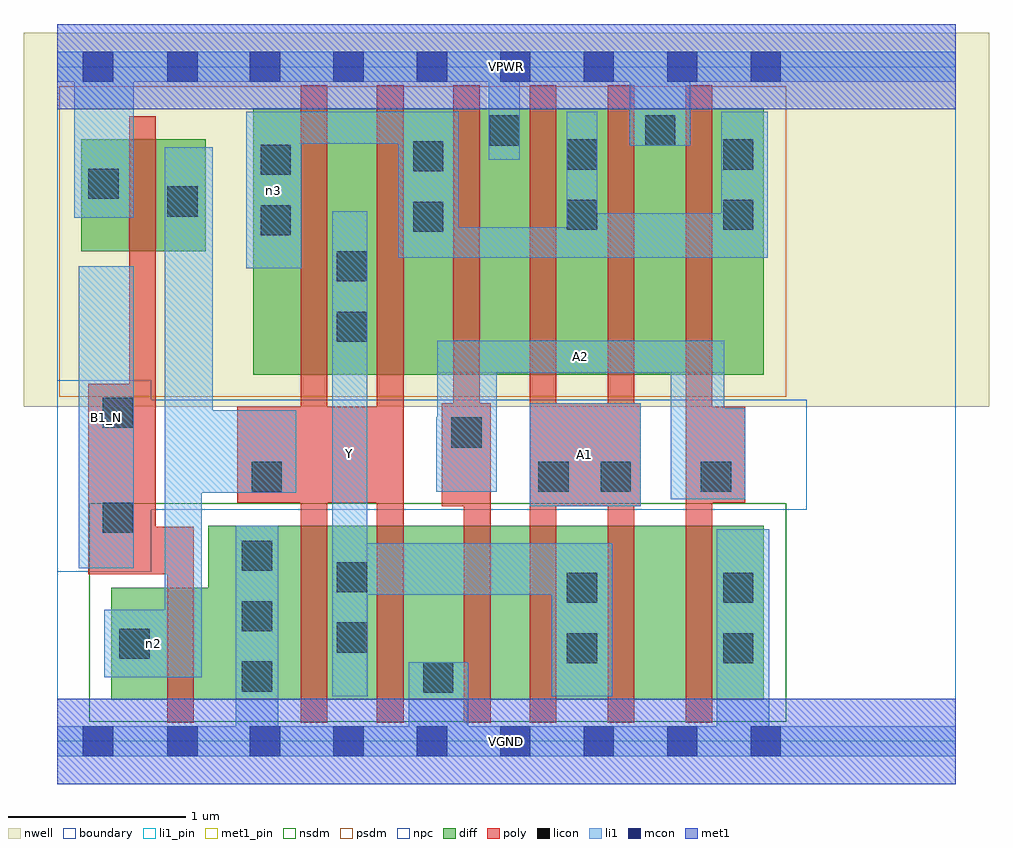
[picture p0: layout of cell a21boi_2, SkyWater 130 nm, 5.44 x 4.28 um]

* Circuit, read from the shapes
.subckt a21boi_2 A1 A2 B1_N VGND VPWR Y n2 n3
XM1 VGND B1_N n2 VSUBS sky130_fd_pr__nfet_01v8 w=0.63 l=0.15
XM2 Y n2 VGND VSUBS sky130_fd_pr__nfet_01v8 w=0.98 l=0.15 m=2
XM3 n1 A2 VGND VSUBS sky130_fd_pr__nfet_01v8 w=0.98 l=0.15
XM4 Y A1 n1 VSUBS sky130_fd_pr__nfet_01v8 w=0.98 l=0.15
XM5 n4 A1 Y VSUBS sky130_fd_pr__nfet_01v8 w=0.98 l=0.15
XM6 VGND A2 n4 VSUBS sky130_fd_pr__nfet_01v8 w=0.98 l=0.15
XM7 n2 B1_N VPWR n5 sky130_fd_pr__pfet_01v8 w=0.63 l=0.15
XM8 Y n2 n3 n5 sky130_fd_pr__pfet_01v8 w=1.5 l=0.15 m=2
XM9 VPWR A2 n3 n5 sky130_fd_pr__pfet_01v8 w=1.5 l=0.15 m=2
XM10 n3 A1 VPWR n5 sky130_fd_pr__pfet_01v8 w=1.5 l=0.15 m=2
.ends

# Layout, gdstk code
import gdstk
lib = gdstk.Library(unit=1e-6, precision=1e-09)
def R(c, l, rs):  # rectangles x0, y0, x1, y1
    for r in rs: c.add(gdstk.rectangle(r[:2], r[2:], *l))
def A(c, l, x, y, w, h, nx, ny, dx, dy):  # array of equal rectangles
    R(c, l, [(x+i*dx, y+j*dy, x+i*dx+w, y+j*dy+h) for i in range(nx) for j in range(ny)])
nwell = (64, 20)
diff = (65, 20)
poly = (66, 20)
licon = (66, 44)
li1_pin = (67, 16)
li1 = (67, 20)
mcon = (67, 44)
met1_pin = (68, 16)
met1 = (68, 20)
nsdm = (93, 44)
psdm = (94, 20)
npc = (95, 20)
boundary = (235, 4)

a21boi_2 = lib.new_cell('a21boi_2')
R(a21boi_2, nwell, [(-0.19,1.885,5.25,3.99), (0,1.885,5.06,3.99)])
R(a21boi_2, diff, [(0.305,0.235,3.98,0.865), (0.85,0.235,3.98,1.215), (1.105,2.065,3.98,3.565), (0.135,2.76,0.835,3.39)])
A(a21boi_2, poly, 2.66, 0.105, 0.15, 3.59, 3, 1, 0.44, 0)
R(a21boi_2, poly, [(0.62,0.105,0.77,1.21), (1.37,0.105,1.52,3.695), (1.8,0.105,1.95,3.695), (2.29,0.105,2.44,1.905), (0.175,0.94,0.555,2.015), (0.175,0.94,0.77,1.21), (0.405,0.94,0.555,3.52), (2.165,1.325,2.44,1.905), (2.23,1.325,2.38,3.695), (2.66,1.325,3.285,1.905), (1.015,1.345,1.95,1.885), (3.54,1.345,3.875,1.885)])
A(a21boi_2, licon, 1.04, 0.28, 0.17, 0.17, 1, 3, 0, 0.34)
R(a21boi_2, licon, [(2.06,0.275,2.23,0.445), (2.87,0.44,3.04,0.61), (3.75,0.44,3.92,0.61), (0.35,0.465,0.52,0.635), (1.575,0.5,1.745,0.67), (2.87,0.78,3.04,0.95), (3.75,0.78,3.92,0.95), (1.575,0.84,1.745,1.01), (0.255,1.175,0.425,1.345), (1.095,1.405,1.265,1.575), (2.71,1.405,2.88,1.575), (3.06,1.405,3.23,1.575), (3.625,1.405,3.795,1.575), (2.22,1.655,2.39,1.825), (0.255,1.765,0.425,1.935), (1.575,2.25,1.745,2.42), (1.575,2.59,1.745,2.76), (1.145,2.85,1.315,3.02), (2.005,2.87,2.175,3.04), (2.87,2.88,3.04,3.05), (3.75,2.88,3.92,3.05), (0.62,2.955,0.79,3.125), (0.175,3.055,0.345,3.225), (1.145,3.19,1.315,3.36), (2.005,3.21,2.175,3.38), (2.87,3.22,3.04,3.39), (3.75,3.22,3.92,3.39), (2.435,3.355,2.605,3.525), (3.31,3.355,3.48,3.525)])
R(a21boi_2, li1_pin, [(1.55,0.255,1.745,2.985), (0.12,0.975,0.43,2.675), (2.66,1.325,3.285,1.905), (2.14,2.075,3.755,2.255)])
R(a21boi_2, li1, [(0,-0.085,5.06,0.085), (1.005,-0.085,1.245,1.215), (1.98,-0.085,2.315,0.445), (3.715,-0.085,4.01,1.195), (1.55,0.255,1.745,2.985), (1.55,0.255,1.75,1.115), (2.785,0.255,3.125,1.115), (0.265,0.36,0.815,0.74), (0.605,0.36,0.815,3.345), (1.55,0.825,3.125,1.115), (0.12,0.975,0.43,2.675), (2.66,1.325,3.285,1.905), (3.455,1.365,3.755,2.255), (3.455,1.365,3.875,1.875), (0.605,1.4,1.345,1.865), (0.605,1.4,0.875,3.345), (2.135,1.405,2.475,1.825), (2.14,1.405,2.475,2.255), (2.14,2.075,3.755,2.255), (1.065,2.665,1.375,3.545), (1.92,2.725,4,2.895), (1.92,2.725,2.26,3.545), (2.87,2.725,3.04,3.545), (2.87,2.725,4,2.975), (3.74,2.725,4,3.545), (0.095,2.95,0.43,3.885), (2.43,3.275,2.605,3.885), (3.225,3.355,3.565,3.885), (1.065,3.365,2.26,3.545), (0,3.715,5.06,3.885)])
A(a21boi_2, mcon, 1.085, -0.085, 0.17, 0.17, 7, 2, 0.47, 3.8)
R(a21boi_2, mcon, [(0.145,-0.085,0.315,0.085), (0.62,-0.085,0.79,0.085), (0.145,3.715,0.315,3.885), (0.62,3.715,0.79,3.885)])
R(a21boi_2, met1_pin, [(0,-0.24,5.06,0.24), (0,3.56,5.06,4.04)])
R(a21boi_2, met1, [(0,-0.24,5.06,0.24), (0,3.56,5.06,4.04)])
R(a21boi_2, nsdm, [(0.18,0.11,4.105,1.34)])
R(a21boi_2, psdm, [(0.01,1.94,4.105,3.69)])
R(a21boi_2, npc, [(0,0.955,0.53,2.035), (0,1.305,4.22,1.925)])
R(a21boi_2, boundary, [(0,0,5.06,3.8)])
a21boi_2.add(gdstk.Label('A1', (2.972,1.615), layer=67, texttype=5))
a21boi_2.add(gdstk.Label('A2', (2.947,2.165), layer=67, texttype=5))
a21boi_2.add(gdstk.Label('B1_N', (0.275,1.825), layer=67, texttype=5))
a21boi_2.add(gdstk.Label('Y', (1.647,1.62), layer=67, texttype=5))
a21boi_2.add(gdstk.Label('n2', (0.54,0.55), layer=67, texttype=5))
a21boi_2.add(gdstk.Label('n3', (1.22,3.105), layer=67, texttype=5))
a21boi_2.add(gdstk.Label('VPWR', (2.53,3.8), layer=68, texttype=5))
a21boi_2.add(gdstk.Label('VGND', (2.53,0), layer=68, texttype=5))
a21boi_2.add(gdstk.Label('A1', (2.972,1.615), layer=67, texttype=16))
a21boi_2.add(gdstk.Label('A2', (2.947,2.165), layer=67, texttype=16))
a21boi_2.add(gdstk.Label('B1_N', (0.275,1.825), layer=67, texttype=16))
a21boi_2.add(gdstk.Label('Y', (1.647,1.62), layer=67, texttype=16))
a21boi_2.add(gdstk.Label('VPWR', (2.53,3.8), layer=68, texttype=16))
a21boi_2.add(gdstk.Label('VGND', (2.53,0), layer=68, texttype=16))

lib.write_gds('a21boi_2.gds')
